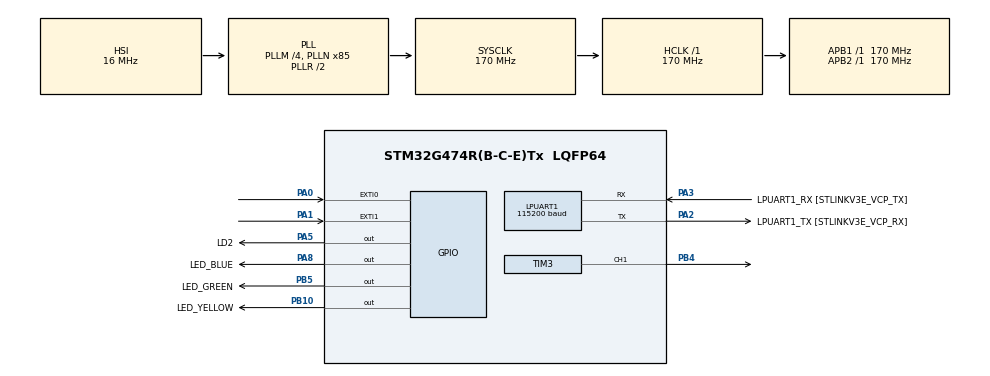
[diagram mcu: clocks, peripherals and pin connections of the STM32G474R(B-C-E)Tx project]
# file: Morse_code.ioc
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LPUART1.BaudRate=115200
Mcu.Family=STM32G4
Mcu.Name=STM32G474R(B-C-E)Tx
Mcu.Package=LQFP64
NVIC.EXTI0_IRQn=true\:3\:0\:true\:false\:true\:true\:true\:true
NVIC.EXTI1_IRQn=true\:3\:0\:true\:false\:true\:true\:true\:true
NVIC.LPUART1_IRQn=true\:1\:0\:true\:false\:true\:true\:true\:true
NVIC.PriorityGroup=NVIC_PRIORITYGROUP_4
NVIC.TIM2_IRQn=true\:2\:0\:true\:false\:true\:true\:true\:true
PA0.GPIO_ModeDefaultEXTI=GPIO_MODE_IT_FALLING
PA0.GPIO_PuPd=GPIO_PULLUP
PA0.Signal=GPXTI0
PA1.GPIO_ModeDefaultEXTI=GPIO_MODE_IT_FALLING
PA1.GPIO_PuPd=GPIO_PULLUP
PA1.Signal=GPXTI1
PA13.GPIO_Label=T_SWDIO
PA13.Mode=Serial_Wire
PA13.Signal=SYS_JTMS-SWDIO
PA14.GPIO_Label=T_SWCLK
PA14.Mode=Serial_Wire
PA14.Signal=SYS_JTCK-SWCLK
PA2.GPIO_Label=LPUART1_TX [STLINKV3E_VCP_RX]
PA2.Mode=Asynchronous
PA2.Signal=LPUART1_TX
PA3.GPIO_Label=LPUART1_RX [STLINKV3E_VCP_TX]
PA3.Mode=Asynchronous
PA3.Signal=LPUART1_RX
PA5.GPIO_Label=LD2
PA5.Signal=GPIO_Output
PA8.GPIO_Label=LED_BLUE
PA8.Signal=GPIO_Output
PB10.GPIO_Label=LED_YELLOW
PB10.Signal=GPIO_Output
PB3.GPIO_Label=T_SWO
PB3.Signal=SYS_JTDO-SWO
PB4.GPIO_PuPd=GPIO_PULLUP
PB4.Signal=S_TIM3_CH1
PB5.GPIO_Label=LED_GREEN
PB5.Signal=GPIO_Output
PC14-OSC32_IN.GPIO_Label=RCC_OSC32_IN
PC14-OSC32_IN.Signal=RCC_OSC32_IN
PC15-OSC32_OUT.GPIO_Label=RCC_OSC32_OUT
PC15-OSC32_OUT.Signal=RCC_OSC32_OUT
PF0-OSC_IN.GPIO_Label=RCC_OSC_IN
PF0-OSC_IN.Signal=RCC_OSC_IN
PF1-OSC_OUT.GPIO_Label=RCC_OSC_OUT
PF1-OSC_OUT.Signal=RCC_OSC_OUT
ProjectManager.HeapSize=0x200
ProjectManager.StackSize=0x400
ProjectManager.TargetToolchain=STM32CubeIDE
RCC.ADC12Freq_Value=170000000
RCC.ADC345Freq_Value=170000000
RCC.AHBFreq_Value=170000000
RCC.APB1Freq_Value=170000000
RCC.APB1TimFreq_Value=170000000
RCC.APB2Freq_Value=170000000
RCC.APB2TimFreq_Value=170000000
RCC.CortexFreq_Value=170000000
RCC.EXTERNAL_CLOCK_VALUE=12288000
RCC.HCLKFreq_Value=170000000
RCC.HSE_VALUE=24000000
RCC.HSI48_VALUE=48000000
RCC.HSI_VALUE=16000000
RCC.LSE_VALUE=32768
RCC.PLLM=RCC_PLLM_DIV4
RCC.PLLN=85
RCC.RTCClockSelection=RCC_RTCCLKSOURCE_LSE
RCC.SYSCLKFreq_VALUE=170000000
RCC.SYSCLKSource=RCC_SYSCLKSOURCE_PLLCLK
RCC.USBFreq_Value=170000000
RCC.VCOOutputFreq_Value=340000000
SH.S_TIM3_CH1.0=TIM3_CH1,PWM Generation1 CH1
TIM2.PeriodNoDither=999
TIM2.Prescaler=169
TIM3.Channel-PWM\ Generation1\ CH1=TIM_CHANNEL_1
TIM3.PeriodNoDither=1249
TIM3.Prescaler=169
TIM3.PulseNoDither_1=625
VP_SYS_VS_DBSignals.Mode=DisableDeadBatterySignals
VP_TIM2_VS_ClockSourceINT.Mode=Internal
board=NUCLEO-G474RE

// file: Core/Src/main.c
/* USER CODE BEGIN Header */
/**
  ******************************************************************************
  * @file           : main.c
  * @brief          : Main program body
  ******************************************************************************
  * @attention
  *
  * Copyright (c) 2026 STMicroelectronics.
  * All rights reserved.
  *
  * This software is licensed under terms that can be found in the LICENSE file
  * in the root directory of this software component.
  * If no LICENSE file comes with this software, it is provided AS-IS.
  *
  ******************************************************************************
  */
/* USER CODE END Header */
#include "main.h"

/* USER CODE BEGIN Includes */
#include <string.h>   /* strlen()、strcmp()：算字串長度、比對字串 */
#include <ctype.h>    /* toupper()：小寫轉大寫 */
/* USER CODE END Includes */

/* USER CODE BEGIN PTD */
/* 摩斯電報器的三種狀態（模式1 按鍵輸入用） */
typedef enum MorseState {
  STATE_IDLE,       /* 待機：沒有按鍵活動，綠燈 */
  STATE_PLAYING,    /* 按鍵觸發的「嗶」聲正在響 */
  STATE_WAIT_CHAR   /* 嗶聲結束，正在計算靜默時間，等判斷字母/單字結束 */
} MorseState;
/* USER CODE END PTD */

/* USER CODE BEGIN PD */
/* ================= 摩斯碼時間（單位：ms） ================= */
#define DOT_MS          100   /* 點「.」的長度 */
#define DASH_MS         300   /* 劃「-」的長度 */
#define SYMBOL_GAP_MS   100   /* 同一個字母內，點劃之間的間隔 */
#define LETTER_GAP_MS   300   /* 字母與字母之間的間隔（總共） */
#define WORD_GAP_MS     700   /* 單字與單字之間的間隔（總共） */

/* ================= 模式1 按鍵解碼判定（單位：ms） ================= */
#define CHAR_END_MS     700   /* 放開後靜默滿這麼久 → 判定一個字母結束 */
#define WORD_END_MS     1800  /* 放開後靜默滿這麼久 → 判定一個單字結束，送空格 */

/* ================= 按鍵 ================= */
#define DEBOUNCE_MS     200          /* 兩次有效按鍵的最小間隔（防彈跳） */
#define BTN_PORT        GPIOA        /* 兩顆按鍵都在 GPIOA */
#define BTN_DOT_PIN     GPIO_PIN_0   /* PA0 = 點 */
#define BTN_DASH_PIN    GPIO_PIN_1   /* PA1 = 劃 */

/* ================= 緩衝區大小 ================= */
#define RX_BUF_SIZE     32    /* UART 接收緩衝：最多存 31 字 + 1 個 '\0' 結尾 */
#define MORSE_BUF_SIZE  8     /* 一個字母的點劃緩衝：最多 7 個符號 + 1 個 '\0' */

/* ================= UART ================= */
#define UART_TX_TIMEOUT 100   /* 傳送逾時（ms），避免卡死 */
/* USER CODE END PD */

UART_HandleTypeDef hlpuart1;

TIM_HandleTypeDef htim2;
TIM_HandleTypeDef htim3;

/* USER CODE BEGIN PV */
/* ---------- UART 接收相關 ---------- */
uint8_t rx_byte;                       /* HAL 每次收到的 1 個位元組放這裡 */
volatile char rx_buf[RX_BUF_SIZE];     /* 收集一整行文字；中斷寫、主迴圈讀 → volatile */
uint8_t rx_idx = 0;                    /* 目前寫到 rx_buf 第幾格（只有中斷用，不需 volatile） */
volatile uint8_t cmd_ready = 0;        /* 旗標：收到 '\n'，一整行準備好了 */

/* ---------- 摩斯碼表（const：放在 Flash，不會被改） ---------- */
const char *morse_letters[26] = {      /* A ~ Z */
  ".-",   "-...", "-.-.", "-..",  ".",    "..-.", "--.",  "....", "..",
  ".---", "-.-",  ".-..", "--",   "-.",   "---",  ".--.", "--.-", ".-.",
  "...",  "-",    "..-",  "...-", ".--",  "-..-", "-.--", "--.."
};
const char *morse_digits[10] = {       /* 0 ~ 9 */
  "-----", ".----", "..---", "...--", "....-",
  ".....", "-....", "--...", "---..", "----."
};

/* ---------- 狀態變數（中斷與主迴圈共用 → 全部 volatile） ---------- */
volatile MorseState state = STATE_IDLE;   /* 目前狀態 */
volatile char     pending_elem = 0;       /* 按鍵中斷記下的 '.' 或 '-'，0 = 沒有 */
volatile uint16_t tone_remaining_ms = 0;  /* 這一聲還要響幾 ms（TIM2 倒數） */
volatile uint16_t silence_ms = 0;         /* 嗶聲結束後已經安靜幾 ms（TIM2 累加） */
volatile uint8_t  char_timeout = 0;       /* 旗標：靜默滿 700ms，該解碼字母 */
volatile uint8_t  space_timeout = 0;      /* 旗標：靜默滿 1800ms，該送空格 */
volatile uint8_t  pc_playing = 0;         /* 1 = 正在播放電腦傳來的字 */
volatile char     morse_buffer[MORSE_BUF_SIZE]; /* 目前輸入中的點劃，例如 ".-" */
volatile uint8_t  morse_len = 0;          /* morse_buffer 裡已有幾個符號 */
/* USER CODE END PV */

void SystemClock_Config(void);
static void MX_GPIO_Init(void);
static void MX_LPUART1_UART_Init(void);
static void MX_TIM2_Init(void);
static void MX_TIM3_Init(void);
/* USER CODE BEGIN PFP */
/* 先宣告，讓後面任何位置都能呼叫這些函式 */
void set_leds(uint8_t g, uint8_t y, uint8_t b);
void tone_on(void);
void tone_off(void);
void uart_print(const char *s);
const char *char_to_morse(char c);
char morse_to_char(const char *code);
void play_text(const char *text);
void handle_button(uint16_t GPIO_Pin);
void HAL_GPIO_EXTI_Falling_Callback(uint16_t GPIO_Pin);
/* USER CODE END PFP */

/* USER CODE BEGIN 0 */

/* ============================================================
 * set_leds：一次設定三顆燈（1 = 亮、0 = 滅）
 * ============================================================ */
void set_leds(uint8_t g, uint8_t y, uint8_t b)
{
  /* 用 CubeMX 的 Label 名稱，不寫死腳位 */
  HAL_GPIO_WritePin(LED_GREEN_GPIO_Port,  LED_GREEN_Pin,  g ? GPIO_PIN_SET : GPIO_PIN_RESET);
  HAL_GPIO_WritePin(LED_YELLOW_GPIO_Port, LED_YELLOW_Pin, y ? GPIO_PIN_SET : GPIO_PIN_RESET);
  HAL_GPIO_WritePin(LED_BLUE_GPIO_Port,   LED_BLUE_Pin,   b ? GPIO_PIN_SET : GPIO_PIN_RESET);
}

/* ============================================================
 * tone_on：蜂鳴器開始響 + LD2 亮
 * ============================================================ */
void tone_on(void)
{
  HAL_TIM_PWM_Start(&htim3, TIM_CHANNEL_1);                /* PB4 開始輸出 800Hz 方波 */
  HAL_GPIO_WritePin(LD2_GPIO_Port, LD2_Pin, GPIO_PIN_SET); /* LD2 亮 */
}

/* ============================================================
 * tone_off：蜂鳴器停止 + LD2 滅
 * ============================================================ */
void tone_off(void)
{
  HAL_TIM_PWM_Stop(&htim3, TIM_CHANNEL_1);                   /* 停止 PWM 輸出 */
  HAL_GPIO_WritePin(LD2_GPIO_Port, LD2_Pin, GPIO_PIN_RESET); /* LD2 滅 */
}

/* ============================================================
 * uart_print：透過 LPUART1 送出一個字串到電腦（只在主迴圈呼叫）
 * ============================================================ */
void uart_print(const char *s)
{
  /* 阻塞式傳送：送完才返回；最多等 UART_TX_TIMEOUT ms */
  HAL_UART_Transmit(&hlpuart1, (uint8_t *)s, (uint16_t)strlen(s), UART_TX_TIMEOUT);
}

/* ============================================================
 * char_to_morse：字元 → 摩斯碼字串；查不到回 NULL
 * 例：'a' → ".-"、'5' → "....."、'!' → NULL
 * ============================================================ */
const char *char_to_morse(char c)
{
  c = (char)toupper((unsigned char)c);           /* 先轉大寫 */
  if (c >= 'A' && c <= 'Z') return morse_letters[c - 'A']; /* 字母：用 c-'A' 當索引 */
  if (c >= '0' && c <= '9') return morse_digits[c - '0'];  /* 數字：用 c-'0' 當索引 */
  return NULL;                                   /* 其他字元：查不到 */
}

/* ============================================================
 * morse_to_char：摩斯碼字串 → 字元；查不到回 '?'
 * 例：".-" → 'A'、"......" → '?'
 * ============================================================ */
char morse_to_char(const char *code)
{
  for (int i = 0; i < 26; i++)                   /* 逐一比對 26 個字母 */
  {
    if (strcmp(code, morse_letters[i]) == 0) return (char)('A' + i);
  }
  for (int i = 0; i < 10; i++)                   /* 逐一比對 10 個數字 */
  {
    if (strcmp(code, morse_digits[i]) == 0) return (char)('0' + i);
  }
  return '?';                                    /* 都對不上 */
}

/* ============================================================
 * play_text：模式2，把一串文字用蜂鳴器 + LED 播成摩斯碼
 * 用 HAL_Delay 阻塞：播放期間主迴圈停在這裡
 * ============================================================ */
void play_text(const char *text)
{
  uint16_t gap = 0;          /* 下一個字母播放前要先等多久（0 = 不用等） */
  uint8_t played_any = 0;    /* 是否已播過至少一個字母（避免開頭就等） */

  pc_playing = 1;            /* 告訴中斷：正在播放，按鍵請忽略 */
  tone_remaining_ms = 0;     /* 中止可能還在響的按鍵音 */
  state = STATE_IDLE;        /* 中止按鍵輸入的狀態 */
  tone_off();                /* 確保一開始是安靜的 */
  set_leds(0, 1, 0);         /* 黃燈：播放中 */

  for (const char *p = text; *p != '\0'; p++)    /* 逐字元處理 */
  {
    if (*p == ' ')                               /* 遇到空白 */
    {
      if (played_any) gap = WORD_GAP_MS;         /* 下一個字母前改等「單字間隔」 */
      continue;                                  /* 空白本身不發聲 */
    }

    const char *code = char_to_morse(*p);        /* 查表 */
    if (code == NULL) continue;                  /* 不認得的字元略過 */

    if (gap > 0) HAL_Delay(gap);                 /* 先等字母間隔或單字間隔 */

    for (const char *s = code; *s != '\0'; s++)  /* 逐一播放點劃 */
    {
      tone_on();                                 /* 開始響 */
      HAL_Delay((*s == '-') ? DASH_MS : DOT_MS); /* 劃響 300、點響 100 */
      tone_off();                                /* 停 */
      if (*(s + 1) != '\0') HAL_Delay(SYMBOL_GAP_MS); /* 不是最後一個符號才等音符間隔 */
    }

    played_any = 1;                              /* 已經播過字母了 */
    gap = LETTER_GAP_MS;                         /* 預設下一個字母前等字母間隔 */
  }

  tone_off();                /* 保險：確定關掉 */
  pending_elem = 0;          /* 清掉播放期間可能殘留的按鍵 */
  char_timeout = 0;          /* 清掉旗標 */
  space_timeout = 0;
  morse_len = 0;             /* 清空按鍵輸入緩衝 */
  morse_buffer[0] = '\0';
  set_leds(1, 0, 0);         /* 綠燈：回待機 */
  pc_playing = 0;            /* 播放結束，恢復接受按鍵 */
}

/* ============================================================
 * handle_button：由 EXTI 中斷呼叫，只做檢查並記錄 pending_elem
 * （不發聲、不傳 UART，真正的處理交給主迴圈）
 * ============================================================ */
void handle_button(uint16_t GPIO_Pin)
{
  static uint32_t last_tick = 0;   /* static：函式結束後仍保留上次有效按鍵的時間 */
  uint32_t now = HAL_GetTick();    /* 開機至今的毫秒數 */
  char elem;

  /* 判斷是哪顆鍵 */
  if (GPIO_Pin == BTN_DOT_PIN)       elem = '.';   /* PA0 → 點 */
  else if (GPIO_Pin == BTN_DASH_PIN) elem = '-';   /* PA1 → 劃 */
  else return;                                      /* 其他腳位不理 */

  /* 防彈跳：距離上次有效按鍵不到 200ms → 忽略 */
  if (now - last_tick < DEBOUNCE_MS) return;

  /* 再讀一次腳位：必須是低電位（真的按著），否則是雜訊 */
  if (HAL_GPIO_ReadPin(BTN_PORT, GPIO_Pin) != GPIO_PIN_RESET) return;

  /* 正在響、正在播放電腦的字、或上一個按鍵還沒處理 → 忽略 */
  if (state == STATE_PLAYING || pc_playing || pending_elem != 0) return;

  last_tick = now;         /* 記下這次有效按鍵的時間 */
  pending_elem = elem;     /* 只記錄，交給主迴圈處理 */
}
/* USER CODE END 0 */

int main(void)
{

  /* MCU Configuration--------------------------------------------------------*/

  /* Reset of all peripherals, Initializes the Flash interface and the Systick. */
  HAL_Init();

  /* Configure the system clock */
  SystemClock_Config();

  /* Initialize all configured peripherals */
  MX_GPIO_Init();
  MX_LPUART1_UART_Init();
  MX_TIM2_Init();
  MX_TIM3_Init();
  /* USER CODE BEGIN 2 */
  tone_off();                                    /* 開機先確保蜂鳴器不響、LD2 滅 */
  set_leds(1, 0, 0);                             /* 綠燈：待機 */
  HAL_TIM_Base_Start_IT(&htim2);                 /* 啟動 TIM2，每 1ms 進一次中斷 */
  HAL_UART_Receive_IT(&hlpuart1, &rx_byte, 1);   /* 開始用中斷接收，收到 1 byte 就通知 */
  uart_print("Morse Telegraph Ready\r\n");       /* 告訴電腦：板子準備好了 */
  /* USER CODE END 2 */

  /* Infinite loop */
  while (1)
  {

    /* USER CODE BEGIN 3 */

	    /* ==================== 優先：處理電腦送來的命令（模式2） ==================== */
	    if (cmd_ready)
	    {
	      char line[RX_BUF_SIZE];    /* 本地複本，避免播放時 rx_buf 被新資料覆蓋 */
	      uint8_t i;

	      __disable_irq();           /* 暫時關中斷，複製時 UART 中斷不能改 rx_buf */
	      for (i = 0; i < RX_BUF_SIZE - 1 && rx_buf[i] != '\0'; i++)
	      {
	        line[i] = rx_buf[i];     /* 逐字複製 */
	      }
	      line[i] = '\0';            /* 補字串結尾 */
	      cmd_ready = 0;             /* 清旗標 */
	      __enable_irq();            /* 恢復中斷 */

	      if (line[0] != '\0')       /* 空行忽略 */
	      {
	        uart_print("RX:");       /* 先回報收到什麼 */
	        uart_print(line);
	        uart_print("\r\n");
	        play_text(line);         /* 播放（阻塞，播完才往下） */
	        uart_print("DONE\r\n");  /* 告訴電腦：播完了 */
	      }
	    }

	    /* ==================== (b) 字母結束：解碼並送出 ==================== */
	    if (char_timeout)
	    {
	      char code[MORSE_BUF_SIZE]; /* 本地複本，把 volatile 緩衝複製出來再查表 */
	      uint8_t ch;                /* 要送出的字元 */
	      uint8_t i;

	      char_timeout = 0;          /* 清旗標 */
	      set_leds(0, 0, 1);         /* 藍燈：解碼中 */

	      if (morse_len > 0)         /* 有輸入才解碼 */
	      {
	        for (i = 0; i < morse_len; i++) code[i] = morse_buffer[i]; /* 複製點劃 */
	        code[i] = '\0';
	        ch = (uint8_t)morse_to_char(code);                          /* 查表 */
	        HAL_UART_Transmit(&hlpuart1, &ch, 1, UART_TX_TIMEOUT);      /* 送 1 byte */
	      }

	      morse_len = 0;             /* 清空緩衝，準備下一個字母 */
	      morse_buffer[0] = '\0';
	    }

	    /* ==================== (c) 單字結束：送空格、回待機 ==================== */
	    if (space_timeout)
	    {
	      space_timeout = 0;         /* 清旗標 */
	      uart_print(" ");           /* 送一個空格 */
	      set_leds(1, 0, 0);         /* 綠燈：待機（state 已由 TIM2 設為 IDLE） */
	    }

	    /* ==================== (a) 處理新的按鍵 ==================== */
	    if (pending_elem != 0 && state != STATE_PLAYING && !pc_playing)
	    {
	      char e = pending_elem;     /* 取出按鍵 */

	      __disable_irq();           /* 關中斷：下面幾個變數要一起改，不能被 TIM2 插進來 */
	      pending_elem = 0;          /* 清除，表示已經處理 */
	      char_timeout = 0;          /* 新符號開始，取消舊的逾時旗標 */
	      space_timeout = 0;
	      tone_remaining_ms = (e == '-') ? DASH_MS : DOT_MS; /* 這聲要響多久 */
	      state = STATE_PLAYING;     /* 狀態：正在響（TIM2 會開始倒數） */
	      __enable_irq();            /* 恢復中斷 */

	      if (morse_len < sizeof(morse_buffer) - 1)  /* 防溢位：最多存 7 個 */
	      {
	        morse_buffer[morse_len] = e;             /* 存入點或劃 */
	        morse_len++;
	        morse_buffer[morse_len] = '\0';          /* 保持字串結尾 */
	      }

	      set_leds(0, 0, 0);         /* 響的時候三燈全滅（只有 LD2 跟著聲音亮） */
	      tone_on();                 /* 開始響 */
	    }
  }
  /* USER CODE END 3 */
}

void SystemClock_Config(void)
{
  RCC_OscInitTypeDef RCC_OscInitStruct = {0};
  RCC_ClkInitTypeDef RCC_ClkInitStruct = {0};

  /** Configure the main internal regulator output voltage
  */
  HAL_PWREx_ControlVoltageScaling(PWR_REGULATOR_VOLTAGE_SCALE1_BOOST);

  /** Initializes the RCC Oscillators according to the specified parameters
  * in the RCC_OscInitTypeDef structure.
  */
  RCC_OscInitStruct.OscillatorType = RCC_OSCILLATORTYPE_HSI;
  RCC_OscInitStruct.HSIState = RCC_HSI_ON;
  RCC_OscInitStruct.HSICalibrationValue = RCC_HSICALIBRATION_DEFAULT;
  RCC_OscInitStruct.PLL.PLLState = RCC_PLL_ON;
  RCC_OscInitStruct.PLL.PLLSource = RCC_PLLSOURCE_HSI;
  RCC_OscInitStruct.PLL.PLLM = RCC_PLLM_DIV4;
  RCC_OscInitStruct.PLL.PLLN = 85;
  RCC_OscInitStruct.PLL.PLLP = RCC_PLLP_DIV2;
  RCC_OscInitStruct.PLL.PLLQ = RCC_PLLQ_DIV2;
  RCC_OscInitStruct.PLL.PLLR = RCC_PLLR_DIV2;
  if (HAL_RCC_OscConfig(&RCC_OscInitStruct) != HAL_OK)
  {
    Error_Handler();
  }

  /** Initializes the CPU, AHB and APB buses clocks
  */
  RCC_ClkInitStruct.ClockType = RCC_CLOCKTYPE_HCLK|RCC_CLOCKTYPE_SYSCLK
                              |RCC_CLOCKTYPE_PCLK1|RCC_CLOCKTYPE_PCLK2;
  RCC_ClkInitStruct.SYSCLKSource = RCC_SYSCLKSOURCE_PLLCLK;
  RCC_ClkInitStruct.AHBCLKDivider = RCC_SYSCLK_DIV1;
  RCC_ClkInitStruct.APB1CLKDivider = RCC_HCLK_DIV1;
  RCC_ClkInitStruct.APB2CLKDivider = RCC_HCLK_DIV1;

  if (HAL_RCC_ClockConfig(&RCC_ClkInitStruct, FLASH_LATENCY_4) != HAL_OK)
  {
    Error_Handler();
  }
}

static void MX_LPUART1_UART_Init(void)
{

  hlpuart1.Instance = LPUART1;
  hlpuart1.Init.BaudRate = 115200;
  hlpuart1.Init.WordLength = UART_WORDLENGTH_8B;
  hlpuart1.Init.StopBits = UART_STOPBITS_1;
  hlpuart1.Init.Parity = UART_PARITY_NONE;
  hlpuart1.Init.Mode = UART_MODE_TX_RX;
  hlpuart1.Init.HwFlowCtl = UART_HWCONTROL_NONE;
  hlpuart1.Init.OneBitSampling = UART_ONE_BIT_SAMPLE_DISABLE;
  hlpuart1.Init.ClockPrescaler = UART_PRESCALER_DIV1;
  hlpuart1.AdvancedInit.AdvFeatureInit = UART_ADVFEATURE_NO_INIT;
  if (HAL_UART_Init(&hlpuart1) != HAL_OK)
  {
    Error_Handler();
  }
  if (HAL_UARTEx_SetTxFifoThreshold(&hlpuart1, UART_TXFIFO_THRESHOLD_1_8) != HAL_OK)
  {
    Error_Handler();
  }
  if (HAL_UARTEx_SetRxFifoThreshold(&hlpuart1, UART_RXFIFO_THRESHOLD_1_8) != HAL_OK)
  {
    Error_Handler();
  }
  if (HAL_UARTEx_DisableFifoMode(&hlpuart1) != HAL_OK)
  {
    Error_Handler();
  }

}

static void MX_TIM2_Init(void)
{

  TIM_ClockConfigTypeDef sClockSourceConfig = {0};
  TIM_MasterConfigTypeDef sMasterConfig = {0};

  htim2.Instance = TIM2;
  htim2.Init.Prescaler = 169;
  htim2.Init.CounterMode = TIM_COUNTERMODE_UP;
  htim2.Init.Period = 999;
  htim2.Init.ClockDivision = TIM_CLOCKDIVISION_DIV1;
  htim2.Init.AutoReloadPreload = TIM_AUTORELOAD_PRELOAD_DISABLE;
  if (HAL_TIM_Base_Init(&htim2) != HAL_OK)
  {
    Error_Handler();
  }
  sClockSourceConfig.ClockSource = TIM_CLOCKSOURCE_INTERNAL;
  if (HAL_TIM_ConfigClockSource(&htim2, &sClockSourceConfig) != HAL_OK)
  {
    Error_Handler();
  }
  sMasterConfig.MasterOutputTrigger = TIM_TRGO_RESET;
  sMasterConfig.MasterSlaveMode = TIM_MASTERSLAVEMODE_DISABLE;
  if (HAL_TIMEx_MasterConfigSynchronization(&htim2, &sMasterConfig) != HAL_OK)
  {
    Error_Handler();
  }

}

static void MX_TIM3_Init(void)
{

  TIM_MasterConfigTypeDef sMasterConfig = {0};
  TIM_OC_InitTypeDef sConfigOC = {0};

  htim3.Instance = TIM3;
  htim3.Init.Prescaler = 169;
  htim3.Init.CounterMode = TIM_COUNTERMODE_UP;
  htim3.Init.Period = 1249;
  htim3.Init.ClockDivision = TIM_CLOCKDIVISION_DIV1;
  htim3.Init.AutoReloadPreload = TIM_AUTORELOAD_PRELOAD_DISABLE;
  if (HAL_TIM_PWM_Init(&htim3) != HAL_OK)
  {
    Error_Handler();
  }
  sMasterConfig.MasterOutputTrigger = TIM_TRGO_RESET;
  sMasterConfig.MasterSlaveMode = TIM_MASTERSLAVEMODE_DISABLE;
  if (HAL_TIMEx_MasterConfigSynchronization(&htim3, &sMasterConfig) != HAL_OK)
  {
    Error_Handler();
  }
  sConfigOC.OCMode = TIM_OCMODE_PWM1;
  sConfigOC.Pulse = 625;
  sConfigOC.OCPolarity = TIM_OCPOLARITY_HIGH;
  sConfigOC.OCFastMode = TIM_OCFAST_DISABLE;
  if (HAL_TIM_PWM_ConfigChannel(&htim3, &sConfigOC, TIM_CHANNEL_1) != HAL_OK)
  {
    Error_Handler();
  }
  HAL_TIM_MspPostInit(&htim3);

}

static void MX_GPIO_Init(void)
{
  GPIO_InitTypeDef GPIO_InitStruct = {0};

  /* GPIO Ports Clock Enable */
  __HAL_RCC_GPIOC_CLK_ENABLE();
  __HAL_RCC_GPIOF_CLK_ENABLE();
  __HAL_RCC_GPIOA_CLK_ENABLE();
  __HAL_RCC_GPIOB_CLK_ENABLE();

  /*Configure GPIO pin Output Level */
  HAL_GPIO_WritePin(GPIOA, LD2_Pin|LED_BLUE_Pin, GPIO_PIN_RESET);

  /*Configure GPIO pin Output Level */
  HAL_GPIO_WritePin(GPIOB, LED_YELLOW_Pin|LED_GREEN_Pin, GPIO_PIN_RESET);

  /*Configure GPIO pins : PA0 PA1 */
  GPIO_InitStruct.Pin = GPIO_PIN_0|GPIO_PIN_1;
  GPIO_InitStruct.Mode = GPIO_MODE_IT_FALLING;
  GPIO_InitStruct.Pull = GPIO_PULLUP;
  HAL_GPIO_Init(GPIOA, &GPIO_InitStruct);

  /*Configure GPIO pins : LD2_Pin LED_BLUE_Pin */
  GPIO_InitStruct.Pin = LD2_Pin|LED_BLUE_Pin;
  GPIO_InitStruct.Mode = GPIO_MODE_OUTPUT_PP;
  GPIO_InitStruct.Pull = GPIO_NOPULL;
  GPIO_InitStruct.Speed = GPIO_SPEED_FREQ_LOW;
  HAL_GPIO_Init(GPIOA, &GPIO_InitStruct);

  /*Configure GPIO pins : LED_YELLOW_Pin LED_GREEN_Pin */
  GPIO_InitStruct.Pin = LED_YELLOW_Pin|LED_GREEN_Pin;
  GPIO_InitStruct.Mode = GPIO_MODE_OUTPUT_PP;
  GPIO_InitStruct.Pull = GPIO_NOPULL;
  GPIO_InitStruct.Speed = GPIO_SPEED_FREQ_LOW;
  HAL_GPIO_Init(GPIOB, &GPIO_InitStruct);

  /* EXTI interrupt init*/
  HAL_NVIC_SetPriority(EXTI0_IRQn, 3, 0);
  HAL_NVIC_EnableIRQ(EXTI0_IRQn);

  HAL_NVIC_SetPriority(EXTI1_IRQn, 3, 0);
  HAL_NVIC_EnableIRQ(EXTI1_IRQn);

}

/* USER CODE BEGIN 4 */

/* ============================================================
 * EXTI 回呼（按鍵按下的下降緣）
 * G4 的 HAL 只會呼叫 HAL_GPIO_EXTI_Callback；
 * Falling_Callback 是給 G0/U5 等系列用的，寫了方便移植
 * ============================================================ */
void HAL_GPIO_EXTI_Falling_Callback(uint16_t GPIO_Pin)
{
  handle_button(GPIO_Pin);   /* 只記錄，不做重活 */
}

void HAL_GPIO_EXTI_Callback(uint16_t GPIO_Pin)
{
  handle_button(GPIO_Pin);   /* 只記錄，不做重活 */
}

/* ============================================================
 * TIM2 每 1ms 中斷一次：負責按鍵音倒數與靜默計時
 * ============================================================ */
void HAL_TIM_PeriodElapsedCallback(TIM_HandleTypeDef *htim)
{
  if (htim->Instance != TIM2) return;   /* 只處理 TIM2 */
  if (pc_playing) return;               /* 模式2 播放中由 HAL_Delay 計時，這裡不插手 */

  if (state == STATE_PLAYING)           /* 正在響 */
  {
    if (tone_remaining_ms > 0) tone_remaining_ms--;  /* 倒數 1ms */
    if (tone_remaining_ms == 0)                      /* 響夠了 */
    {
      tone_off();                       /* 停止蜂鳴器與 LD2 */
      silence_ms = 0;                   /* 靜默計時從 0 開始 */
      state = STATE_WAIT_CHAR;          /* 進入等待狀態 */
    }
  }
  else if (state == STATE_WAIT_CHAR)    /* 正在靜默 */
  {
    silence_ms++;                       /* 累加 1ms */
    if (silence_ms == CHAR_END_MS)      /* 剛好滿 700ms */
    {
      char_timeout = 1;                 /* 通知主迴圈：解碼字母 */
    }
    if (silence_ms == WORD_END_MS)      /* 剛好滿 1800ms */
    {
      space_timeout = 1;                /* 通知主迴圈：送空格 */
      state = STATE_IDLE;               /* 回待機，停止計時 */
    }
  }
}

/* ============================================================
 * UART 每收到 1 個 byte 呼叫一次：組成一整行
 * ============================================================ */
void HAL_UART_RxCpltCallback(UART_HandleTypeDef *huart)
{
  if (huart->Instance == LPUART1)       /* 確認是 LPUART1 */
  {
    char c = (char)rx_byte;             /* 剛收到的字元 */

    if (c == '\n')                      /* 一行結束 */
    {
      rx_buf[rx_idx] = '\0';            /* 補字串結尾 */
      rx_idx = 0;                       /* 下一行從頭寫 */
      cmd_ready = 1;                    /* 通知主迴圈 */
    }
    else if (c == '\r')                 /* Windows 換行的 \r */
    {
      /* 略過 */
    }
    else
    {
      if (c >= 'a' && c <= 'z') c = (char)(c - 'a' + 'A');   /* 小寫轉大寫 */

      /* 只收 A~Z、0~9、空白；標點、中文直接略過 */
      if ((c >= 'A' && c <= 'Z') || (c >= '0' && c <= '9') || c == ' ')
      {
        if (rx_idx < sizeof(rx_buf) - 1)   /* 還有空間（保留 1 格給 '\0'） */
        {
          rx_buf[rx_idx] = c;              /* 存入 */
          rx_idx++;
        }
        /* 超過 31 字：直接丟棄 */
      }
    }

    HAL_UART_Receive_IT(&hlpuart1, &rx_byte, 1);   /* 重新啟動，收下一個 byte */
  }
}

/* ============================================================
 * UART 發生錯誤（例如 overrun：資料來太快沒讀走）
 * ============================================================ */
void HAL_UART_ErrorCallback(UART_HandleTypeDef *huart)
{
  if (huart->Instance == LPUART1)
  {
    __HAL_UART_CLEAR_OREFLAG(huart);    /* 清除 overrun 旗標 */
    __HAL_UART_CLEAR_NEFLAG(huart);     /* 順便清雜訊錯誤旗標 */
    __HAL_UART_CLEAR_FEFLAG(huart);     /* 順便清框架錯誤旗標 */
    rx_idx = 0;                         /* 這行資料已不完整，丟掉重來 */
    HAL_UART_Receive_IT(&hlpuart1, &rx_byte, 1);   /* 重新啟動接收 */
  }
}
/* USER CODE END 4 */

void Error_Handler(void)
{
  __disable_irq();
  while (1)
  {
  }
}
